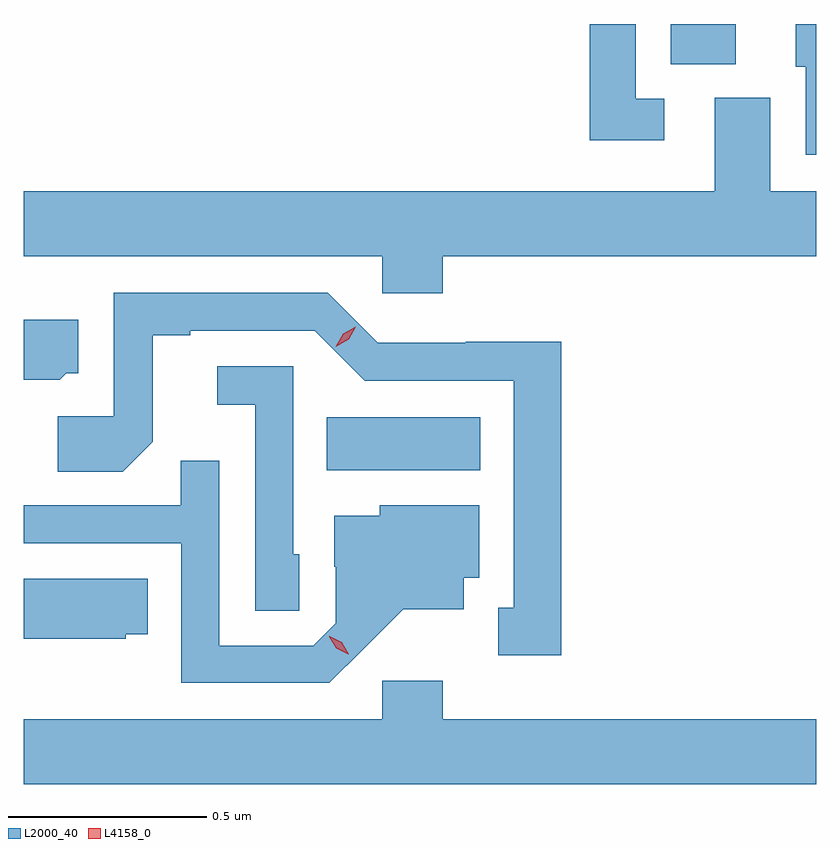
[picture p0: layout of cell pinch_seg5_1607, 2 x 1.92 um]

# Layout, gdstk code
import gdstk
lib = gdstk.Library(unit=1e-6, precision=1e-09)
def R(c, l, rs):  # rectangles x0, y0, x1, y1
    for r in rs: c.add(gdstk.rectangle(r[:2], r[2:], *l))
def P(c, l, *ps):  # polygons
    for p in ps: c.add(gdstk.Polygon(p, *l))
L2000_40 = (2000, 40)
L4158_0 = (4158, 0)

pinch_seg5_1607 = lib.new_cell('pinch_seg5_1607')
R(pinch_seg5_1607, L2000_40, [(315.412,848.228,315.799,848.362), (316.28,849.253,316.444,849.354)])
P(pinch_seg5_1607, L2000_40, [(316.264,849.165),(316.191,849.165),(316.191,849.354),(316.075,849.354),(316.075,849.06),(316.264,849.06)],
  [(316.647,849.354),(316.595,849.354),(316.595,849.246),(316.62,849.246),(316.62,849.024),(316.647,849.024)],
  [(315.704,848.768),(316.647,848.768),(316.647,848.932),(316.531,848.932),(316.531,849.168),(316.391,849.168),(316.391,848.932),(314.647,848.932),(314.647,848.768),(315.552,848.768),(315.552,848.675),(315.704,848.675)],
  [(316.003,848.552),(315.762,848.552),(315.762,848.55),(315.54,848.55),(315.414,848.676),(314.874,848.676),(314.874,848.364),(314.733,848.364),(314.733,848.224),(314.897,848.224),(314.973,848.3),(314.973,848.568),(315.067,848.568),(315.067,848.58),(315.381,848.58),(315.507,848.454),(315.884,848.454),(315.884,847.881),(315.845,847.881),(315.845,847.761),(316.003,847.761)],
  [(314.754,848.472),(314.785,848.472),(314.785,848.608),(314.647,848.608),(314.647,848.456),(314.738,848.456)],
  [(315.342,848.016),(315.327,848.016),(315.327,848.49),(315.135,848.49),(315.135,848.393),(315.231,848.393),(315.231,847.873),(315.342,847.873)],
  [(315.502,847.775),(315.605,847.877),(315.757,847.877),(315.757,847.956),(315.796,847.956),(315.796,848.14),(315.546,848.14),(315.546,848.113),(315.431,848.113),(315.431,847.984),(315.435,847.984),(315.435,847.842),(315.378,847.785),(315.141,847.785),(315.141,848.252),(315.043,848.252),(315.043,848.139),(314.647,848.139),(314.647,848.043),(315.045,848.043),(315.045,847.692),(315.418,847.692)],
  [(314.904,847.814),(314.96,847.814),(314.96,847.954),(314.647,847.954),(314.647,847.802),(314.904,847.802)],
  [(316.647,847.6),(315.704,847.6),(315.704,847.696),(315.552,847.696),(315.552,847.6),(314.647,847.6),(314.647,847.436),(316.647,847.436)])
P(pinch_seg5_1607, L4158_0, [(315.466,847.764),(315.436,847.779),(315.418,847.808),(315.418,847.809),(315.419,847.809),(315.449,847.794),(315.467,847.764),(315.467,847.764)],
  [(315.434,848.54),(315.434,848.54),(315.453,848.572),(315.485,848.59),(315.485,848.59),(315.485,848.59),(315.467,848.558),(315.435,848.54)])

lib.write_gds('pinch_seg5_1607.gds')
